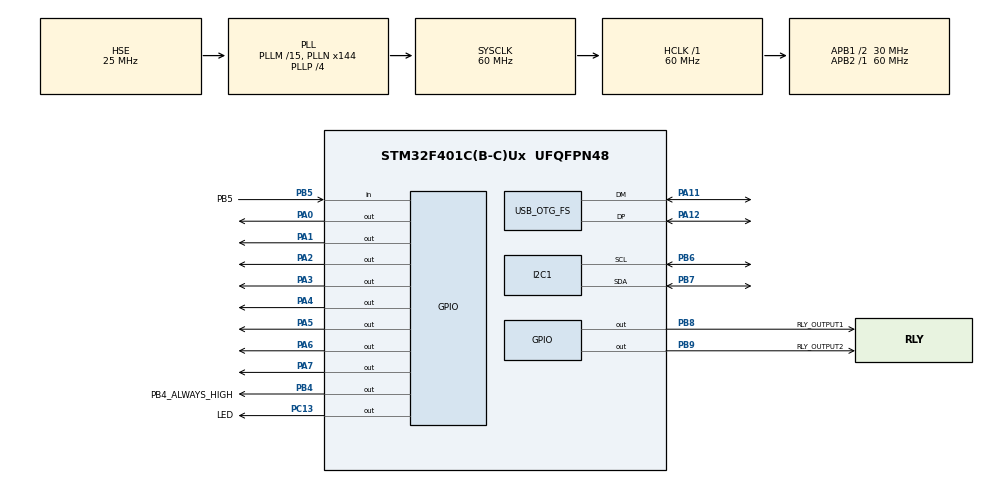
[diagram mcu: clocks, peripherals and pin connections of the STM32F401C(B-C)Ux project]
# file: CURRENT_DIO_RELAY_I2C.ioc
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Mcu.Family=STM32F4
Mcu.Name=STM32F401C(B-C)Ux
Mcu.Package=UFQFPN48
NVIC.OTG_FS_IRQn=true\:0\:0\:false\:false\:true\:false\:true
NVIC.PriorityGroup=NVIC_PRIORITYGROUP_4
PA0-WKUP.GPIO_PuPd=GPIO_PULLUP
PA0-WKUP.GPIO_Speed=GPIO_SPEED_FREQ_VERY_HIGH
PA0-WKUP.PinState=GPIO_PIN_SET
PA0-WKUP.Signal=GPIO_Output
PA1.GPIO_PuPd=GPIO_PULLUP
PA1.GPIO_Speed=GPIO_SPEED_FREQ_VERY_HIGH
PA1.PinState=GPIO_PIN_SET
PA1.Signal=GPIO_Output
PA11.Mode=Device_Only
PA11.Signal=USB_OTG_FS_DM
PA12.Mode=Device_Only
PA12.Signal=USB_OTG_FS_DP
PA2.GPIO_PuPd=GPIO_PULLUP
PA2.GPIO_Speed=GPIO_SPEED_FREQ_VERY_HIGH
PA2.PinState=GPIO_PIN_SET
PA2.Signal=GPIO_Output
PA3.GPIO_PuPd=GPIO_PULLUP
PA3.GPIO_Speed=GPIO_SPEED_FREQ_VERY_HIGH
PA3.PinState=GPIO_PIN_SET
PA3.Signal=GPIO_Output
PA4.GPIO_PuPd=GPIO_PULLUP
PA4.GPIO_Speed=GPIO_SPEED_FREQ_VERY_HIGH
PA4.PinState=GPIO_PIN_SET
PA4.Signal=GPIO_Output
PA5.GPIO_PuPd=GPIO_PULLUP
PA5.GPIO_Speed=GPIO_SPEED_FREQ_VERY_HIGH
PA5.PinState=GPIO_PIN_SET
PA5.Signal=GPIO_Output
PA6.GPIO_PuPd=GPIO_PULLUP
PA6.GPIO_Speed=GPIO_SPEED_FREQ_VERY_HIGH
PA6.PinState=GPIO_PIN_SET
PA6.Signal=GPIO_Output
PA7.GPIO_PuPd=GPIO_PULLUP
PA7.GPIO_Speed=GPIO_SPEED_FREQ_VERY_HIGH
PA7.PinState=GPIO_PIN_SET
PA7.Signal=GPIO_Output
PB4.GPIO_Label=PB4_ALWAYS_HIGH
PB4.GPIO_PuPd=GPIO_PULLUP
PB4.GPIO_Speed=GPIO_SPEED_FREQ_VERY_HIGH
PB4.PinState=GPIO_PIN_SET
PB4.Signal=GPIO_Output
PB5.GPIO_Label=PB5
PB5.GPIO_PuPd=GPIO_PULLDOWN
PB5.Signal=GPIO_Input
PB6.Mode=I2C
PB6.Signal=I2C1_SCL
PB7.Mode=I2C
PB7.Signal=I2C1_SDA
PB8.GPIO_Label=RLY_OUTPUT1
PB8.GPIO_PuPd=GPIO_PULLUP
PB8.GPIO_Speed=GPIO_SPEED_FREQ_VERY_HIGH
PB8.PinState=GPIO_PIN_SET
PB8.Signal=GPIO_Output
PB9.GPIO_Label=RLY_OUTPUT2
PB9.GPIO_PuPd=GPIO_PULLUP
PB9.GPIO_Speed=GPIO_SPEED_FREQ_VERY_HIGH
PB9.PinState=GPIO_PIN_SET
PB9.Signal=GPIO_Output
PC13-ANTI_TAMP.GPIO_Label=LED
PC13-ANTI_TAMP.GPIO_PuPd=GPIO_PULLDOWN
PC13-ANTI_TAMP.Signal=GPIO_Output
PC14-OSC32_IN.Mode=LSE-External-Oscillator
PC14-OSC32_IN.Signal=RCC_OSC32_IN
PC15-OSC32_OUT.Mode=LSE-External-Oscillator
PC15-OSC32_OUT.Signal=RCC_OSC32_OUT
PH0\ -\ OSC_IN.Mode=HSE-External-Oscillator
PH0\ -\ OSC_IN.Signal=RCC_OSC_IN
PH1\ -\ OSC_OUT.Mode=HSE-External-Oscillator
PH1\ -\ OSC_OUT.Signal=RCC_OSC_OUT
ProjectManager.HeapSize=0x200
ProjectManager.StackSize=0x400
ProjectManager.TargetToolchain=STM32CubeIDE
RCC.48MHZClocksFreq_Value=48000000
RCC.AHBFreq_Value=60000000
RCC.APB1CLKDivider=RCC_HCLK_DIV2
RCC.APB1Freq_Value=30000000
RCC.APB1TimFreq_Value=60000000
RCC.APB2Freq_Value=60000000
RCC.APB2TimFreq_Value=60000000
RCC.CortexFreq_Value=60000000
RCC.HCLKFreq_Value=60000000
RCC.HSE_VALUE=25000000
RCC.HSI_VALUE=16000000
RCC.PLLM=15
RCC.PLLN=144
RCC.PLLP=RCC_PLLP_DIV4
RCC.PLLQ=5
RCC.SYSCLKFreq_VALUE=60000000
RCC.SYSCLKSource=RCC_SYSCLKSOURCE_PLLCLK
RCC.VCOOutputFreq_Value=240000000
USB_DEVICE.CLASS_NAME_FS=CDC
USB_DEVICE.VirtualMode=Cdc
USB_DEVICE.VirtualModeFS=Cdc_FS
USB_OTG_FS.VirtualMode=Device_Only
VP_USB_DEVICE_VS_USB_DEVICE_CDC_FS.Mode=CDC_FS
board=custom

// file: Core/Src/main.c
/* USER CODE BEGIN Header */
/**
 ******************************************************************************
 * @file           : main.c
 * @brief          : Main program body
 ******************************************************************************
 * @attention
 *
 * <h2><center>&copy; Copyright (c) 2021 STMicroelectronics.
 * All rights reserved.</center></h2>
 *
 * This software component is licensed by ST under BSD 3-Clause license,
 * the "License"; You may not use this file except in compliance with the
 * License. You may obtain a copy of the License at:
 *                        opensource.org/licenses/BSD-3-Clause
 *
 ******************************************************************************
 */
/* USER CODE END Header */
#include "main.h"
#include "i2c.h"
#include "usb_device.h"
#include "gpio.h"

/* USER CODE BEGIN Includes */
#include <stdio.h>
#include <stdlib.h>
#include <string.h>
#include <float.h>
#include "usbd_cdc_if.h"
/* USER CODE END Includes */

/* USER CODE BEGIN PV */
//**************************ADS1115 variables ///
const uint8_t ads1115_address_w = 0b01001000 << 1; //address at which we write data
const uint8_t ads1115_address_r = 0b01001000 << 1 | 0x01; //address at which we read data
const uint8_t ads1115_reg_config = 0b00000001;
uint8_t ads1115_config_data[] = { 0b10001110, 0b11100011 };
const uint8_t ads1115_reg_conversion = 0b00000000;

uint8_t adc_value[2];	//raw data from ads1115, must be combined
int16_t converted;		//converted value fropm ads1115
char buffer[25];		//serial commands buffer
char duration[5];		//buffer for ads1115 measurement time, string typed
long dur_number;		//converted above to number, base 10
char *ptr;				//ph for string convertion
//**************************ADS1115 variables ///

uint8_t DataToSend[40]; // Tablica zawierajaca dane do wyslania
uint8_t MessageCounter = 0; // Licznik wyslanych wiadomosci
uint8_t MessageLength = 0; // Zawiera dlugosc wysylanej wiadomosci

uint8_t ReceivedData[40]; // Tablica przechowujaca odebrane dane
uint8_t ReceivedDataFlag = 0; // Flaga informujaca o odebraniu danych
//all available serial commands that will be interpreted
const char resetAll[] = "RESET";
const char startADC[] = "ADC";
const char a0on[] = "A0 ON";
const char a1on[] = "A1 ON";
const char a2on[] = "A2 ON";
const char a3on[] = "A3 ON";
const char a0off[] = "A0 OF";
const char a1off[] = "A1 OF";
const char a2off[] = "A2 OF";
const char a3off[] = "A3 OF";
const char b5[] = "B5?";
const char relay_out_on[] = "RF ON";
const char relay_out_off[] = "RF OF";

/* USER CODE END PV */

void SystemClock_Config(void);

int main(void) {

	/* MCU Configuration--------------------------------------------------------*/

	/* Reset of all peripherals, Initializes the Flash interface and the Systick. */
	HAL_Init();

	/* Configure the system clock */
	SystemClock_Config();

	/* Initialize all configured peripherals */
	MX_GPIO_Init();
	MX_I2C1_Init();
	MX_USB_DEVICE_Init();
	/* USER CODE BEGIN 2 */
	//ads1115 configuration
	HAL_I2C_Mem_Write(&hi2c1, ads1115_address_w, ads1115_reg_config, 1,
			ads1115_config_data, 2, 50);
	HAL_I2C_Master_Transmit(&hi2c1, ads1115_address_w, ads1115_reg_conversion,
			1, 50);
	//gpio init configuration, probably obsolete
	HAL_GPIO_WritePin(PB4_ALWAYS_HIGH_GPIO_Port, PB4_ALWAYS_HIGH_Pin,
			GPIO_PIN_SET);
	HAL_GPIO_WritePin(GPIOC, GPIO_PIN_13, GPIO_PIN_RESET);

	/* USER CODE END 2 */

	/* Infinite loop */
	/* USER CODE BEGIN WHILE */
	while (1) {

		if (ReceivedDataFlag == 1) {	//flag for serial input buffer
			ReceivedDataFlag = 0;
			// read ADS1115//
			if (strncmp((const char*) ReceivedData, startADC, 3) == 0) {
				for (int var = 0; var < 5; ++var) {
					duration[var] = ReceivedData[3 + var];
				}
				dur_number = strtol(duration, &ptr, 10);
				for (int var = 0; var < dur_number; ++var) {
					HAL_Delay(5);
					HAL_I2C_Master_Receive(&hi2c1, ads1115_address_r, adc_value,
							2, 50);
					converted = ((adc_value[0] << 8) | adc_value[1]);
					snprintf(buffer, sizeof(buffer) - 1, "%d\n", converted);
					CDC_Transmit_FS(buffer, sizeof(buffer));
				}
			}
			// relay commands
			if (strncmp((const char*) ReceivedData, resetAll, 5) == 0) {
				HAL_GPIO_WritePin(GPIOA, GPIO_PIN_0, GPIO_PIN_SET);
				HAL_GPIO_WritePin(GPIOA, GPIO_PIN_1, GPIO_PIN_SET);
				HAL_GPIO_WritePin(GPIOA, GPIO_PIN_2, GPIO_PIN_SET);
				HAL_GPIO_WritePin(GPIOA, GPIO_PIN_3, GPIO_PIN_SET);
				MessageLength = sprintf(DataToSend,
						"Zresetowano wszystkie przekazniki\n");
				CDC_Transmit_FS(DataToSend, MessageLength);
			}
			if (strncmp((const char*) ReceivedData, a0on, 5) == 0) {
				HAL_GPIO_WritePin(GPIOA, GPIO_PIN_0, GPIO_PIN_RESET);
				MessageLength = sprintf(DataToSend, "Wlaczono A0\n");
				CDC_Transmit_FS(DataToSend, MessageLength);
			}
			if (strncmp((const char*) ReceivedData, a1on, 5) == 0) {
				HAL_GPIO_WritePin(GPIOA, GPIO_PIN_1, GPIO_PIN_RESET);
				MessageLength = sprintf(DataToSend, "Wlaczono A1\n");
				CDC_Transmit_FS(DataToSend, MessageLength);
			}
			if (strncmp((const char*) ReceivedData, a2on, 5) == 0) {
				HAL_GPIO_WritePin(GPIOA, GPIO_PIN_2, GPIO_PIN_RESET);
				MessageLength = sprintf(DataToSend, "Wlaczono A2\n");
				CDC_Transmit_FS(DataToSend, MessageLength);
			}
			if (strncmp((const char*) ReceivedData, a3on, 5) == 0) {
				HAL_GPIO_WritePin(GPIOA, GPIO_PIN_3, GPIO_PIN_RESET);
				MessageLength = sprintf(DataToSend, "Wlaczono A3\n");
				CDC_Transmit_FS(DataToSend, MessageLength);
			}
			if (strncmp((const char*) ReceivedData, a0off, 5) == 0) {
				HAL_GPIO_WritePin(GPIOA, GPIO_PIN_0, GPIO_PIN_SET);
				MessageLength = sprintf(DataToSend, "Wylaczono A0\n");
				CDC_Transmit_FS(DataToSend, MessageLength);
			}
			if (strncmp((const char*) ReceivedData, a1off, 5) == 0) {
				HAL_GPIO_WritePin(GPIOA, GPIO_PIN_1, GPIO_PIN_SET);
				MessageLength = sprintf(DataToSend, "Wylaczono A1\n");
				CDC_Transmit_FS(DataToSend, MessageLength);
			}
			if (strncmp((const char*) ReceivedData, a2off, 5) == 0) {
				HAL_GPIO_WritePin(GPIOA, GPIO_PIN_2, GPIO_PIN_SET);
				MessageLength = sprintf(DataToSend, "Wylaczono A2\n");
				CDC_Transmit_FS(DataToSend, MessageLength);
			}
			if (strncmp((const char*) ReceivedData, a3off, 5) == 0) {
				HAL_GPIO_WritePin(GPIOA, GPIO_PIN_3, GPIO_PIN_SET);
				MessageLength = sprintf(DataToSend, "Wylaczono A3\n");
				CDC_Transmit_FS(DataToSend, MessageLength);
			}
			// RF relay
			if (strncmp((const char*) ReceivedData, relay_out_on, 5) == 0) {
				HAL_GPIO_WritePin(RLY_OUTPUT1_GPIO_Port, RLY_OUTPUT1_Pin,
						GPIO_PIN_RESET);
				HAL_GPIO_WritePin(RLY_OUTPUT2_GPIO_Port, RLY_OUTPUT2_Pin,
						GPIO_PIN_SET);
				MessageLength = sprintf(DataToSend, "Przekaznik RF wlaczony\n");
				CDC_Transmit_FS(DataToSend, MessageLength);
			}
			if (strncmp((const char*) ReceivedData, relay_out_off, 5) == 0) {
				HAL_GPIO_WritePin(RLY_OUTPUT1_GPIO_Port, RLY_OUTPUT1_Pin,
						GPIO_PIN_SET);
				HAL_GPIO_WritePin(RLY_OUTPUT2_GPIO_Port, RLY_OUTPUT2_Pin,
						GPIO_PIN_RESET);
				MessageLength = sprintf(DataToSend,
						"Przekaznik RF wylaczony\n");
				CDC_Transmit_FS(DataToSend, MessageLength);
			}
			// read GPIO state
			if (strncmp((const char*) ReceivedData, b5, 3) == 0) {
				if (HAL_GPIO_ReadPin(PB5_GPIO_Port, PB5_Pin) == GPIO_PIN_SET) {
					MessageLength = sprintf(DataToSend, "1\n");
					CDC_Transmit_FS(DataToSend, MessageLength);
				} else {
					MessageLength = sprintf(DataToSend, "0\n");
					CDC_Transmit_FS(DataToSend, MessageLength);
				}
			}
		}
		HAL_GPIO_WritePin(LED_GPIO_Port, LED_Pin, GPIO_PIN_SET);
		HAL_Delay(150);
		HAL_GPIO_WritePin(LED_GPIO_Port, LED_Pin, GPIO_PIN_RESET);
		HAL_Delay(150);
	}
	/* USER CODE END WHILE */

}

void SystemClock_Config(void) {
	RCC_OscInitTypeDef RCC_OscInitStruct = { 0 };
	RCC_ClkInitTypeDef RCC_ClkInitStruct = { 0 };

	/** Configure the main internal regulator output voltage
	 */
	__HAL_RCC_PWR_CLK_ENABLE();
	__HAL_PWR_VOLTAGESCALING_CONFIG(PWR_REGULATOR_VOLTAGE_SCALE2);
	/** Initializes the RCC Oscillators according to the specified parameters
	 * in the RCC_OscInitTypeDef structure.
	 */
	RCC_OscInitStruct.OscillatorType = RCC_OSCILLATORTYPE_HSE;
	RCC_OscInitStruct.HSEState = RCC_HSE_ON;
	RCC_OscInitStruct.PLL.PLLState = RCC_PLL_ON;
	RCC_OscInitStruct.PLL.PLLSource = RCC_PLLSOURCE_HSE;
	RCC_OscInitStruct.PLL.PLLM = 15;
	RCC_OscInitStruct.PLL.PLLN = 144;
	RCC_OscInitStruct.PLL.PLLP = RCC_PLLP_DIV4;
	RCC_OscInitStruct.PLL.PLLQ = 5;
	if (HAL_RCC_OscConfig(&RCC_OscInitStruct) != HAL_OK) {
		Error_Handler();
	}
	/** Initializes the CPU, AHB and APB buses clocks
	 */
	RCC_ClkInitStruct.ClockType = RCC_CLOCKTYPE_HCLK | RCC_CLOCKTYPE_SYSCLK
			| RCC_CLOCKTYPE_PCLK1 | RCC_CLOCKTYPE_PCLK2;
	RCC_ClkInitStruct.SYSCLKSource = RCC_SYSCLKSOURCE_PLLCLK;
	RCC_ClkInitStruct.AHBCLKDivider = RCC_SYSCLK_DIV1;
	RCC_ClkInitStruct.APB1CLKDivider = RCC_HCLK_DIV2;
	RCC_ClkInitStruct.APB2CLKDivider = RCC_HCLK_DIV1;

	if (HAL_RCC_ClockConfig(&RCC_ClkInitStruct, FLASH_LATENCY_1) != HAL_OK) {
		Error_Handler();
	}
}

void Error_Handler(void) {
	__disable_irq();
	while (1) {
	}
}

/************************ (C) COPYRIGHT STMicroelectronics *****END OF FILE****/
